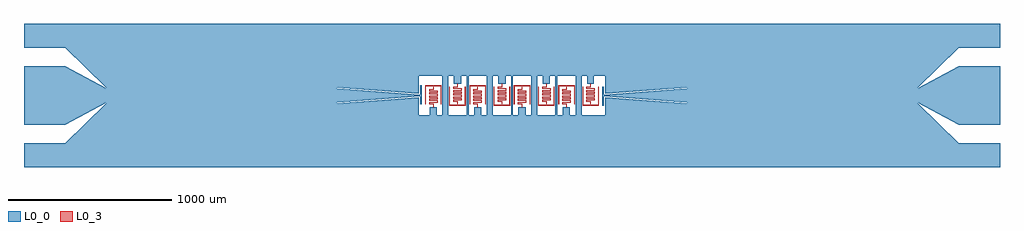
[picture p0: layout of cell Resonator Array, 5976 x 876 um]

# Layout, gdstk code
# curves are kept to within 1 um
import gdstk
lib = gdstk.Library(unit=1e-6, precision=1e-09)
def P(c, l, *ps):  # polygons
    for p in ps: c.add(gdstk.Polygon(p, *l))
L0_0 = (0, 0)
L0_3 = (0, 3)

resonator_array = lib.new_cell('Resonator Array')
P(resonator_array, L0_0, [(-2002,-106.5),(-590,-106.5),(-80,-66.888),(-80,-115),(-70,-115),(-70,0),(-80,0),(-80,-56.112),(-590,-16.5),(-2002,-16.5),(-2254,118.5),(-2506,118.5),(-2506,-241.5),(-2254,-241.5)],
  [(3470,118.5),(3218,118.5),(2966,-16.5),(1554,-16.5),(1044,-56.112),(1044,-8),(1034,-8),(1034,-123),(1044,-123),(1044,-66.888),(1554,-106.5),(2966,-106.5),(3218,-241.5),(3470,-241.5)],
  [(941.5,58),(941.5,10),(983.5,10),(983.5,58),(1054,58),(1054,-49.422),(1554,-13.5),(2966,-13.5),(3218,230.5),(3470,230.5),(3470,376.5),(-2506,376.5),(-2506,230.5),(-2254,230.5),(-2002,-13.5),(-590,-13.5),(-90,-49.423),(-90,58),(125.5,58),(125.5,10),(170.5,10),(170.5,58),(204,58),(204,-181),(216,-181),(216,58),(397.5,58),(397.5,10),(442.5,10),(442.5,58),(476,58),(476,-181),(488,-181),(488,58),(669.5,58),(669.5,10),(714.5,10),(714.5,58),(748,58),(748,-181),(760,-181),(760,58),(872,58),(872,-181),(835.5,-181),(835.5,-133),(793.5,-133),(793.5,-181),(636,-181),(636,58),(488,58),(600,58),(600,-181),(566.5,-181),(566.5,-133),(521.5,-133),(521.5,-181),(364,-181),(364,58),(216,58),(328,58),(328,-181),(294.5,-181),(294.5,-133),(249.5,-133),(249.5,-181),(92,-181),(92,58),(-90,58),(56,58),(56,-181),(22.5,-181),(22.5,-133),(-22.5,-133),(-22.5,-181),(-90,-181),(-90,-73.577),(-590,-109.5),(-2002,-109.5),(-2254,-353.5),(-2506,-353.5),(-2506,-499.5),(3470,-499.5),(3470,-353.5),(3218,-353.5),(2966,-109.5),(1554,-109.5),(1054,-73.578),(1054,-181),(908,-181),(908,58)])
P(resonator_array, L0_3, [(-50,-115),(-46,-115),(-46,-4),(46,-4),(46,-115),(50,-115),(50,0),(-50,0)],
  [(1.5,-4),(-1.5,-4),(-1.5,-22),(-26,-22),(-26,-35),(0,-35),(23,-35),(23,-42),(0,-42),(-26,-42),(-26,-55),(0,-55),(23,-55),(23,-62),(0,-62),(-26,-62),(-26,-75),(0,-75),(23,-75),(23,-82),(0,-82),(-26,-82),(-26,-95),(0,-95),(23,-95),(23,-102),(0,-102),(-26,-102),(-26,-115),(-1.5,-115),(-1.5,-133),(1.5,-133),(1.5,-112),(-23,-112),(-23,-105),(0,-105),(26,-105),(26,-92),(0,-92),(-23,-92),(-23,-85),(0,-85),(26,-85),(26,-72),(0,-72),(-23,-72),(-23,-65),(0,-65),(26,-65),(26,-52),(0,-52),(-23,-52),(-23,-45),(0,-45),(26,-45),(26,-32),(0,-32),(-23,-32),(-23,-25),(1.5,-25)],
  [(102,-8),(98,-8),(98,-123),(198,-123),(198,-8),(194,-8),(194,-119),(102,-119)],
  [(146.5,-119),(149.5,-119),(149.5,-98),(125,-98),(125,-91),(148,-91),(174,-91),(174,-78),(148,-78),(125,-78),(125,-71),(148,-71),(174,-71),(174,-58),(148,-58),(125,-58),(125,-51),(148,-51),(174,-51),(174,-38),(148,-38),(125,-38),(125,-31),(148,-31),(174,-31),(174,-18),(148,-18),(125,-18),(125,-11),(149.5,-11),(149.5,10),(146.5,10),(146.5,-8),(122,-8),(122,-21),(148,-21),(171,-21),(171,-28),(148,-28),(122,-28),(122,-41),(148,-41),(171,-41),(171,-48),(148,-48),(122,-48),(122,-61),(148,-61),(171,-61),(171,-68),(148,-68),(122,-68),(122,-81),(148,-81),(171,-81),(171,-88),(148,-88),(122,-88),(122,-101),(146.5,-101)],
  [(222,-115),(226,-115),(226,-4),(318,-4),(318,-115),(322,-115),(322,0),(222,0)],
  [(273.5,-4),(270.5,-4),(270.5,-22),(246,-22),(246,-35),(272,-35),(295,-35),(295,-42),(272,-42),(246,-42),(246,-55),(272,-55),(295,-55),(295,-62),(272,-62),(246,-62),(246,-75),(272,-75),(295,-75),(295,-82),(272,-82),(246,-82),(246,-95),(272,-95),(295,-95),(295,-102),(272,-102),(246,-102),(246,-115),(270.5,-115),(270.5,-133),(273.5,-133),(273.5,-112),(249,-112),(249,-105),(272,-105),(298,-105),(298,-92),(272,-92),(249,-92),(249,-85),(272,-85),(298,-85),(298,-72),(272,-72),(249,-72),(249,-65),(272,-65),(298,-65),(298,-52),(272,-52),(249,-52),(249,-45),(272,-45),(298,-45),(298,-32),(272,-32),(249,-32),(249,-25),(273.5,-25)],
  [(374,-8),(370,-8),(370,-123),(470,-123),(470,-8),(466,-8),(466,-119),(374,-119)],
  [(418.5,-119),(421.5,-119),(421.5,-98),(397,-98),(397,-91),(420,-91),(446,-91),(446,-78),(420,-78),(397,-78),(397,-71),(420,-71),(446,-71),(446,-58),(420,-58),(397,-58),(397,-51),(420,-51),(446,-51),(446,-38),(420,-38),(397,-38),(397,-31),(420,-31),(446,-31),(446,-18),(420,-18),(397,-18),(397,-11),(421.5,-11),(421.5,10),(418.5,10),(418.5,-8),(394,-8),(394,-21),(420,-21),(443,-21),(443,-28),(420,-28),(394,-28),(394,-41),(420,-41),(443,-41),(443,-48),(420,-48),(394,-48),(394,-61),(420,-61),(443,-61),(443,-68),(420,-68),(394,-68),(394,-81),(420,-81),(443,-81),(443,-88),(420,-88),(394,-88),(394,-101),(418.5,-101)],
  [(494,-115),(498,-115),(498,-4),(590,-4),(590,-115),(594,-115),(594,0),(494,0)],
  [(545.5,-4),(542.5,-4),(542.5,-22),(518,-22),(518,-35),(544,-35),(567,-35),(567,-42),(544,-42),(518,-42),(518,-55),(544,-55),(567,-55),(567,-62),(544,-62),(518,-62),(518,-75),(544,-75),(567,-75),(567,-82),(544,-82),(518,-82),(518,-95),(544,-95),(567,-95),(567,-102),(544,-102),(518,-102),(518,-115),(542.5,-115),(542.5,-133),(545.5,-133),(545.5,-112),(521,-112),(521,-105),(544,-105),(570,-105),(570,-92),(544,-92),(521,-92),(521,-85),(544,-85),(570,-85),(570,-72),(544,-72),(521,-72),(521,-65),(544,-65),(570,-65),(570,-52),(544,-52),(521,-52),(521,-45),(544,-45),(570,-45),(570,-32),(544,-32),(521,-32),(521,-25),(545.5,-25)],
  [(646,-8),(642,-8),(642,-123),(742,-123),(742,-8),(738,-8),(738,-119),(646,-119)],
  [(690.5,-119),(693.5,-119),(693.5,-98),(669,-98),(669,-91),(692,-91),(718,-91),(718,-78),(692,-78),(669,-78),(669,-71),(692,-71),(718,-71),(718,-58),(692,-58),(669,-58),(669,-51),(692,-51),(718,-51),(718,-38),(692,-38),(669,-38),(669,-31),(692,-31),(718,-31),(718,-18),(692,-18),(669,-18),(669,-11),(693.5,-11),(693.5,10),(690.5,10),(690.5,-8),(666,-8),(666,-21),(692,-21),(715,-21),(715,-28),(692,-28),(666,-28),(666,-41),(692,-41),(715,-41),(715,-48),(692,-48),(666,-48),(666,-61),(692,-61),(715,-61),(715,-68),(692,-68),(666,-68),(666,-81),(692,-81),(715,-81),(715,-88),(692,-88),(666,-88),(666,-101),(690.5,-101)],
  [(766,-115),(770,-115),(770,-4),(862,-4),(862,-115),(866,-115),(866,0),(766,0)],
  [(817.5,-4),(814.5,-4),(814.5,-22),(790,-22),(790,-35),(816,-35),(839,-35),(839,-42),(816,-42),(790,-42),(790,-55),(816,-55),(839,-55),(839,-62),(816,-62),(790,-62),(790,-75),(816,-75),(839,-75),(839,-82),(816,-82),(790,-82),(790,-95),(816,-95),(839,-95),(839,-102),(816,-102),(790,-102),(790,-115),(814.5,-115),(814.5,-133),(817.5,-133),(817.5,-112),(793,-112),(793,-105),(816,-105),(842,-105),(842,-92),(816,-92),(793,-92),(793,-85),(816,-85),(842,-85),(842,-72),(816,-72),(793,-72),(793,-65),(816,-65),(842,-65),(842,-52),(816,-52),(793,-52),(793,-45),(816,-45),(842,-45),(842,-32),(816,-32),(793,-32),(793,-25),(817.5,-25)],
  [(918,-8),(914,-8),(914,-123),(1014,-123),(1014,-8),(1010,-8),(1010,-119),(918,-119)],
  [(962.5,-119),(965.5,-119),(965.5,-98),(941,-98),(941,-91),(964,-91),(990,-91),(990,-78),(964,-78),(941,-78),(941,-71),(964,-71),(990,-71),(990,-58),(964,-58),(941,-58),(941,-51),(964,-51),(990,-51),(990,-38),(964,-38),(941,-38),(941,-31),(964,-31),(990,-31),(990,-18),(964,-18),(941,-18),(941,-11),(965.5,-11),(965.5,10),(962.5,10),(962.5,-8),(938,-8),(938,-21),(964,-21),(987,-21),(987,-28),(964,-28),(938,-28),(938,-41),(964,-41),(987,-41),(987,-48),(964,-48),(938,-48),(938,-61),(964,-61),(987,-61),(987,-68),(964,-68),(938,-68),(938,-81),(964,-81),(987,-81),(987,-88),(964,-88),(938,-88),(938,-101),(962.5,-101)])

lib.write_gds('Resonator_Array.gds')
